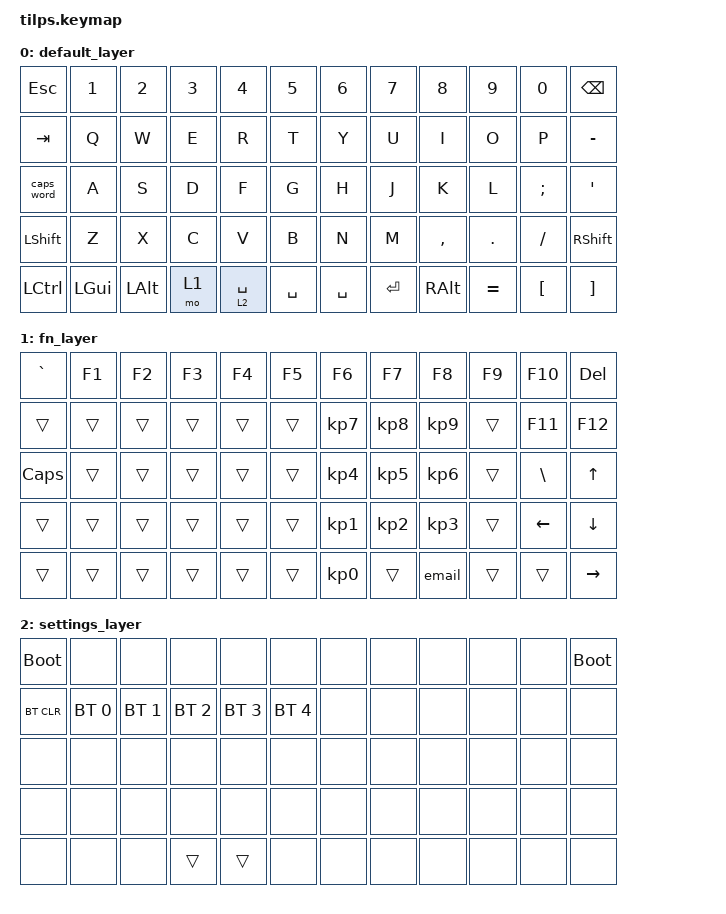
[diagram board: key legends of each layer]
/*
 * Copyright (c) 2020 The ZMK Contributors
 *
 * SPDX-License-Identifier: MIT
 */

#include <behaviors.dtsi>
#include <dt-bindings/zmk/keys.h>
#include <dt-bindings/zmk/bt.h>
#include <dt-bindings/zmk/ext_power.h>

&lt { quick_tap_ms = <220>; };
&mt { quick_tap_ms = <220>; };

/ {
    macros {
        email: email {
            compatible = "zmk,behavior-macro";
            #binding-cells = <0>;
            bindings = <&kp Z &kp O &kp U &kp R &kp E &kp M &kp A &kp I &kp L &kp AT &kp E &kp X &kp A &kp M &kp P &kp L &kp E &kp DOT &kp C &kp O &kp M>;
        };
    };

    behaviors {
        lts: layer_tap_space {
            compatible = "zmk,behavior-hold-tap";
            #binding-cells = <2>;
            tapping-term-ms = <200>;
            quick-tap-ms = <200>;
            flavor = "tap-preferred";
            bindings = <&mo>, <&kp>;
        };
    };

    keymap {
        compatible = "zmk,keymap";

        default_layer {
            bindings = <
                &kp ESC   &kp N1    &kp N2    &kp N3    &kp N4    &kp N5       &kp N6    &kp N7    &kp N8    &kp N9    &kp N0    &kp BSPC
                &kp TAB   &kp Q     &kp W     &kp E     &kp R     &kp T        &kp Y     &kp U     &kp I     &kp O     &kp P     &kp MINUS
                &caps_word  &kp A   &kp S     &kp D     &kp F     &kp G        &kp H     &kp J     &kp K     &kp L     &kp SEMI  &kp APOS
                &kp LSHFT &kp Z     &kp X     &kp C     &kp V     &kp B        &kp N     &kp M     &kp COMMA &kp DOT   &kp FSLH  &kp RSHFT
                &kp LCTRL &kp LGUI  &kp LALT  &mo 1     &lts 2 SPACE &kp SPACE    &kp SPACE &kp ENTER &kp RALT  &kp EQUAL &kp LBKT  &kp RBKT
            >;
        };

        fn_layer {
            bindings = <
                &kp GRAVE &kp F1    &kp F2    &kp F3    &kp F4    &kp F5       &kp F6    &kp F7    &kp F8    &kp F9    &kp F10   &kp DEL
                &trans    &trans    &trans    &trans    &trans    &trans       &kp KP_N7 &kp KP_N8 &kp KP_N9 &trans    &kp F11   &kp F12
                &kp CAPS     &trans    &trans    &trans    &trans    &trans       &kp KP_N4 &kp KP_N5 &kp KP_N6 &trans    &kp BSLH  &kp UP
                &trans    &trans    &trans    &trans    &trans    &trans       &kp KP_N1 &kp KP_N2 &kp KP_N3 &trans    &kp LEFT  &kp DOWN
                &trans    &trans    &trans    &trans    &trans    &trans       &kp KP_N0 &trans    &email    &trans    &trans    &kp RIGHT
            >;
        };

        settings_layer {
            bindings = <
                &bootloader &none    &none     &none     &none     &none        &none     &none     &none     &none     &none     &bootloader
                &bt BT_CLR  &bt BT_SEL 0 &bt BT_SEL 1 &bt BT_SEL 2 &bt BT_SEL 3 &bt BT_SEL 4  &none &none &none &none &none &none
                &none       &none     &none     &none     &none     &none        &none     &none     &none     &none     &none     &none
                &none       &none     &none     &none     &none     &none        &none     &none     &none     &none     &none     &none
                &none       &none     &none     &trans    &trans    &none        &none     &none     &none     &none     &none     &none
            >;
        };
    };
};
